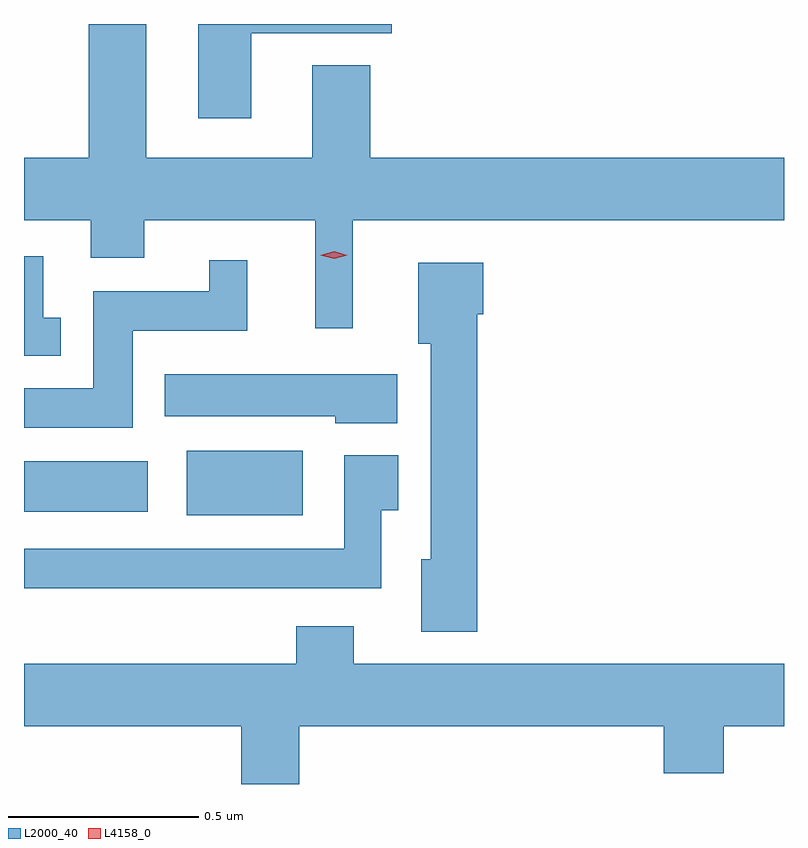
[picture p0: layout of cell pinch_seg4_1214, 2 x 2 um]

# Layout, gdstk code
import gdstk
lib = gdstk.Library(unit=1e-6, precision=1e-09)
def R(c, l, rs):  # rectangles x0, y0, x1, y1
    for r in rs: c.add(gdstk.rectangle(r[:2], r[2:], *l))
def P(c, l, *ps):  # polygons
    for p in ps: c.add(gdstk.Polygon(p, *l))
L2000_40 = (2000, 40)
L4158_0 = (4158, 0)

pinch_seg4_1214 = lib.new_cell('pinch_seg4_1214')
R(pinch_seg4_1214, L2000_40, [(545.465,761.411,545.77,761.581), (545.037,761.42,545.362,761.554)])
P(pinch_seg4_1214, L2000_40, [(545.902,762.188),(547.037,762.188),(547.037,762.352),(545.948,762.352),(545.948,762.595),(545.795,762.595),(545.795,762.352),(545.359,762.352),(545.359,762.704),(545.207,762.704),(545.207,762.352),(545.037,762.352),(545.037,762.188),(545.213,762.188),(545.213,762.089),(545.353,762.089),(545.353,762.188),(545.804,762.188),(545.804,761.904),(545.902,761.904)],
  [(545.635,762.68),(546.005,762.68),(546.005,762.704),(545.495,762.704),(545.495,762.456),(545.635,762.456)],
  [(545.134,761.931),(545.088,761.931),(545.088,762.093),(545.037,762.093),(545.037,761.831),(545.134,761.831)],
  [(545.323,761.897),(545.624,761.897),(545.624,762.082),(545.525,762.082),(545.525,762.001),(545.219,762.001),(545.219,761.746),(545.037,761.746),(545.037,761.642),(545.323,761.642)],
  [(546.23,761.94),(546.245,761.94),(546.245,762.076),(546.074,762.076),(546.074,761.862),(546.107,761.862),(546.107,761.295),(546.083,761.295),(546.083,761.105),(546.23,761.105)],
  [(546.019,761.782),(545.408,761.782),(545.408,761.672),(545.856,761.672),(545.856,761.654),(546.019,761.654)],
  [(545.977,761.425),(546.022,761.425),(546.022,761.569),(545.88,761.569),(545.88,761.323),(545.037,761.323),(545.037,761.219),(545.977,761.219)],
  [(545.761,760.856),(546.721,760.856),(546.721,760.732),(546.878,760.732),(546.878,760.856),(547.037,760.856),(547.037,761.02),(545.905,761.02),(545.905,761.119),(545.753,761.119),(545.753,761.02),(545.037,761.02),(545.037,760.856),(545.609,760.856),(545.609,760.704),(545.761,760.704)])
P(pinch_seg4_1214, L4158_0, [(545.853,762.086),(545.817,762.095),(545.817,762.096),(545.817,762.096),(545.853,762.106),(545.888,762.096),(545.888,762.096),(545.888,762.095)])

lib.write_gds('pinch_seg4_1214.gds')
